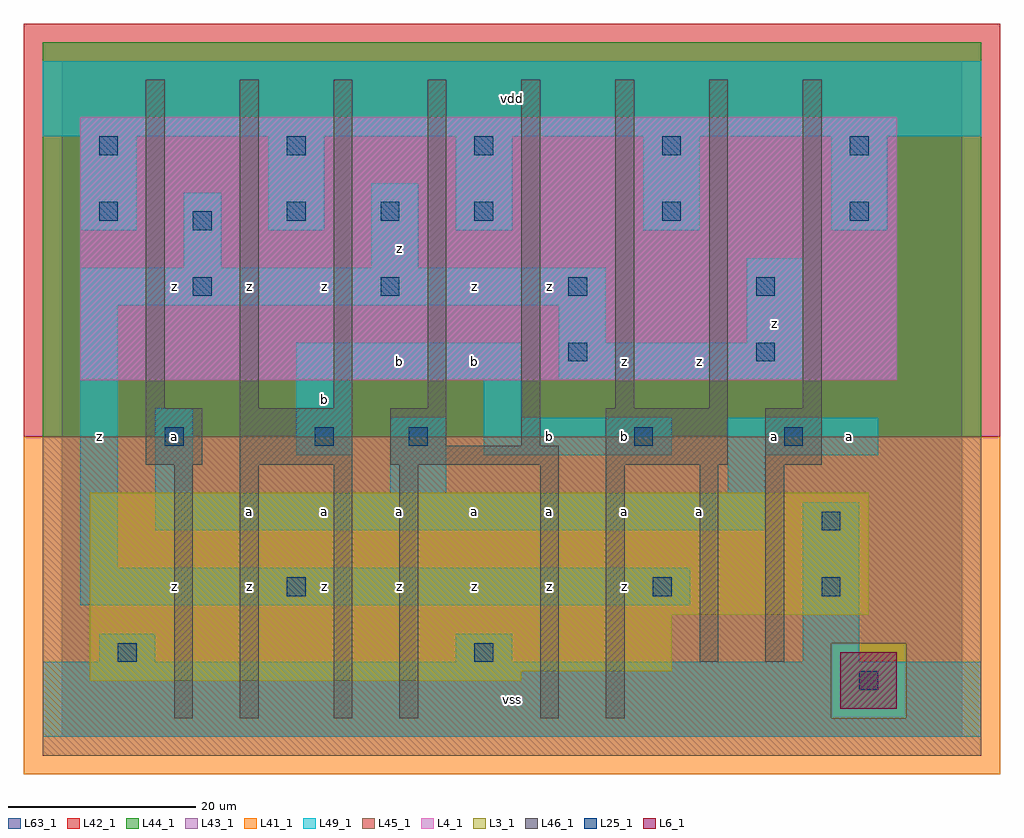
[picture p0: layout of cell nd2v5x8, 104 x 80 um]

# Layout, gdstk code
import gdstk
lib = gdstk.Library(unit=1e-6, precision=1e-09)
def R(c, l, rs):  # rectangles x0, y0, x1, y1
    for r in rs: c.add(gdstk.rectangle(r[:2], r[2:], *l))
def A(c, l, x, y, w, h, nx, ny, dx, dy):  # array of equal rectangles
    R(c, l, [(x+i*dx, y+j*dy, x+i*dx+w, y+j*dy+h) for i in range(nx) for j in range(ny)])
L3_1 = (3, 1)
L4_1 = (4, 1)
L6_1 = (6, 1)
L25_1 = (25, 1)
L41_1 = (41, 1)
L42_1 = (42, 1)
L43_1 = (43, 1)
L44_1 = (44, 1)
L45_1 = (45, 1)
L46_1 = (46, 1)
L49_1 = (49, 1)
L63_1 = (63, 1)

nd2v5x8 = lib.new_cell('nd2v5x8')
R(nd2v5x8, L3_1, [(3,6,49,7), (3,7,65,13), (3,13,86,26)])
R(nd2v5x8, L4_1, [(2,38,89,66)])
R(nd2v5x8, L6_1, [(83,3,89,9), (83,3,89,9)])
A(nd2v5x8, L25_1, 14, 47, 2, 2, 4, 1, 20, 0)
A(nd2v5x8, L25_1, 24, 55, 2, 2, 3, 1, 10, 0)
A(nd2v5x8, L25_1, 4, 62, 2, 2, 5, 1, 20, 0)
R(nd2v5x8, L25_1, [(85,5,87,7), (6,8,8,10), (44,8,46,10), (24,15,26,17), (63,15,65,17), (81,15,83,17), (81,22,83,24), (11,31,13,33), (27,31,29,33), (37,31,39,33), (61,31,63,33), (77,31,79,33), (54,40,56,42), (74,40,76,42), (14,54,16,56), (4,55,6,57), (64,55,66,57), (84,55,86,57)])
R(nd2v5x8, L41_1, [(-4,-4,100,32)])
R(nd2v5x8, L42_1, [(-4,32,100,76)])
R(nd2v5x8, L43_1, [(83,3,89,9), (3,6,49,7), (3,7,65,13), (3,13,86,26), (2,38,89,66)])
R(nd2v5x8, L44_1, [(82,2,90,10), (-2,32,98,74)])
R(nd2v5x8, L45_1, [(-2,-2,98,2), (-2,2,82,10), (90,2,98,10), (-2,10,98,32)])
A(nd2v5x8, L46_1, 9, 35, 2, 35, 4, 1, 10, 0)
A(nd2v5x8, L46_1, 59, 35, 2, 35, 3, 1, 10, 0)
R(nd2v5x8, L46_1, [(12,2,14,29), (19,2,21,29), (29,2,31,29), (36,2,38,29), (51,2,53,29), (58,2,60,29), (68,8,70,29), (75,8,77,29), (9,29,15,35), (19,29,31,35), (35,29,53,31), (58,29,71,35), (75,29,81,35), (35,31,41,35), (49,31,51,70)])
A(nd2v5x8, L49_1, 2, 54, 6, 10, 5, 1, 20, 0)
R(nd2v5x8, L49_1, [(-2,0,98,8), (4,8,10,11), (42,8,48,11), (79,8,85,25), (2,14,67,18), (2,18,6,46), (10,22,75,26), (10,26,14,35), (35,26,41,34), (71,26,75,30), (25,30,31,38), (45,30,65,34), (71,30,87,34), (45,34,49,38), (25,38,49,42), (53,38,79,42), (53,42,58,46), (73,42,79,51), (2,46,58,50), (13,50,17,58), (33,50,38,59), (-2,64,98,72)])
R(nd2v5x8, L63_1, [(0,0,96,72)])
nd2v5x8.add(gdstk.Label('z', (12,16), layer=49, texttype=1))
nd2v5x8.add(gdstk.Label('z', (4,32), layer=49, texttype=1))
nd2v5x8.add(gdstk.Label('a', (12,32), layer=49, texttype=1))
nd2v5x8.add(gdstk.Label('z', (12,48), layer=49, texttype=1))
nd2v5x8.add(gdstk.Label('z', (28,16), layer=49, texttype=1))
nd2v5x8.add(gdstk.Label('z', (20,16), layer=49, texttype=1))
nd2v5x8.add(gdstk.Label('a', (20,24), layer=49, texttype=1))
nd2v5x8.add(gdstk.Label('a', (28,24), layer=49, texttype=1))
nd2v5x8.add(gdstk.Label('b', (28,36), layer=49, texttype=1))
nd2v5x8.add(gdstk.Label('z', (20,48), layer=49, texttype=1))
nd2v5x8.add(gdstk.Label('z', (28,48), layer=49, texttype=1))
nd2v5x8.add(gdstk.Label('vss', (48,4), layer=49, texttype=1))
nd2v5x8.add(gdstk.Label('z', (52,16), layer=49, texttype=1))
nd2v5x8.add(gdstk.Label('z', (44,16), layer=49, texttype=1))
nd2v5x8.add(gdstk.Label('z', (36,16), layer=49, texttype=1))
nd2v5x8.add(gdstk.Label('a', (36,24), layer=49, texttype=1))
nd2v5x8.add(gdstk.Label('a', (52,24), layer=49, texttype=1))
nd2v5x8.add(gdstk.Label('a', (44,24), layer=49, texttype=1))
nd2v5x8.add(gdstk.Label('b', (52,32), layer=49, texttype=1))
nd2v5x8.add(gdstk.Label('b', (36,40), layer=49, texttype=1))
nd2v5x8.add(gdstk.Label('b', (44,40), layer=49, texttype=1))
nd2v5x8.add(gdstk.Label('z', (36,52), layer=49, texttype=1))
nd2v5x8.add(gdstk.Label('z', (52,48), layer=49, texttype=1))
nd2v5x8.add(gdstk.Label('z', (44,48), layer=49, texttype=1))
nd2v5x8.add(gdstk.Label('vdd', (48,68), layer=49, texttype=1))
nd2v5x8.add(gdstk.Label('z', (60,16), layer=49, texttype=1))
nd2v5x8.add(gdstk.Label('a', (60,24), layer=49, texttype=1))
nd2v5x8.add(gdstk.Label('a', (68,24), layer=49, texttype=1))
nd2v5x8.add(gdstk.Label('a', (76,32), layer=49, texttype=1))
nd2v5x8.add(gdstk.Label('b', (60,32), layer=49, texttype=1))
nd2v5x8.add(gdstk.Label('z', (60,40), layer=49, texttype=1))
nd2v5x8.add(gdstk.Label('z', (68,40), layer=49, texttype=1))
nd2v5x8.add(gdstk.Label('z', (76,44), layer=49, texttype=1))
nd2v5x8.add(gdstk.Label('a', (84,32), layer=49, texttype=1))

lib.write_gds('nd2v5x8.gds')
